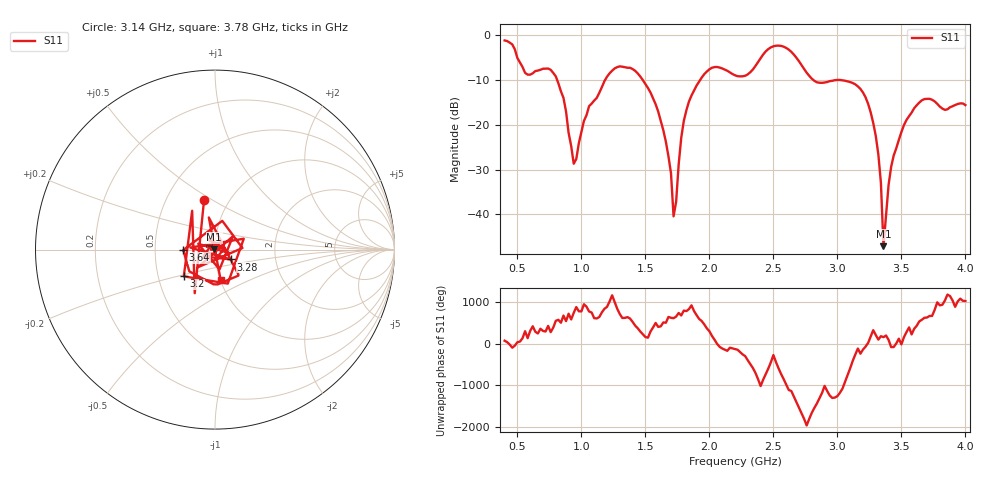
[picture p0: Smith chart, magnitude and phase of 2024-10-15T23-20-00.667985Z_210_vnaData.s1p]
! Created with skrf (http://scikit-rf.org).
# Hz S RI R 50.0
!freq ReS11 ImS11
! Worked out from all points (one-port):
!   181 points, 400 MHz to 4 GHz, reference 50 ohm
!   lowest |S11| = -47.1 dB at 3.36 GHz (marker M1), VSWR 1.01, Z = 49.6 + j0.144 ohm
!   |S11| at or under -10 dB: 810.3 MHz to 1.185 GHz (375 MHz wide, 37.6 % of centre); 1.479 GHz to 1.928 GHz (448.5 MHz wide, 26.3 % of centre); 2.812 GHz to end of sweep
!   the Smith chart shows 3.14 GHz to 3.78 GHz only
!   S11 on the Smith chart (normalised r, x): 3.14 GHz: 0.77, +0.46; 3.2 GHz: 0.68, -0.21; 3.28 GHz: 1.19, -0.13; 3.64 GHz: 0.70, -0.00; 3.78 GHz: 1.00, -0.35
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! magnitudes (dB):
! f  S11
! 400 MHz  -1.2
! 580 MHz  -8.8
! 760 MHz  -7.7
! 860 MHz  -14.0
! 940 MHz  -28.7
! 1.06 GHz  -15.9
! 1.3 GHz  -7.0
! 1.58 GHz  -15.4
! 1.68 GHz  -27.0
! 1.72 GHz  -40.4
! 1.76 GHz  -28.8
! 1.82 GHz  -16.8
! 1.92 GHz  -10.3
! 2.2 GHz  -9.0
! 2.5 GHz  -2.5
! 2.66 GHz  -4.3
! 2.84 GHz  -10.5
! 3.1 GHz  -10.5
! 3.14 GHz  -11.0
! 3.2 GHz  -12.8
! 3.28 GHz  -19.6
! 3.34 GHz  -33.0
! 3.36 GHz  -47.1
! 3.42 GHz  -29.4
! 3.56 GHz  -18.1
! 3.64 GHz  -15.0
! 3.78 GHz  -15.3
! 4 GHz  -15.6
